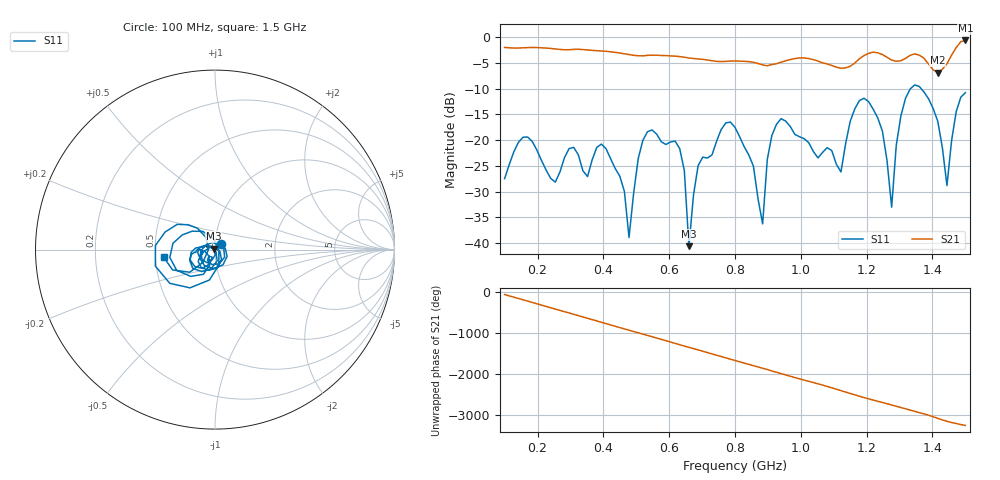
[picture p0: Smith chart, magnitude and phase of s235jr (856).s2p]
! NanoVNA-App
! Date: 2025-09-25 15:10:50
! Start: 100MHz Stop: 1,5GHz Points: 101
! S-Parameter data: F S11 S21 S12 S22
# Hz S RI R 50
!  Frequency  S11_Real  S11_Imag  S21_Real  S21_Imag  S12_Real  S12_Imag  S22_Real  S22_Imag
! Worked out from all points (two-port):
!   101 points, 100 MHz to 1.5 GHz, reference 50 ohm
!   highest |S21| = -0.61 dB at 1.5 GHz (marker M1); lowest = -6.9 dB at 1.416 GHz (marker M2)
!   |S21| within 3 dB of the highest: start of sweep to 602.4 MHz; 1.191 GHz to 1.255 GHz (64.39 MHz wide, 5.27 % of centre) (the widest 2 of 4)
!   lowest |S11| = -40.6 dB at 660 MHz (marker M3), VSWR 1.02, Z = 49.3 + j0.603 ohm
!   |S11| at or under -10 dB: start of sweep to 1.333 GHz; 1.366 GHz to end of sweep
!   S12 and S22 are empty: the file has one direction only
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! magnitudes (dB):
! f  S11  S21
! 100 MHz  -27.5  -2.0
! 156 MHz  -19.4  -2.0
! 338 MHz  -25.9  -2.4
! 408 MHz  -21.6  -2.7
! 478 MHz  -38.9  -3.4
! 520 MHz  -20.0  -3.6
! 576 MHz  -20.3  -3.5
! 632 MHz  -21.6  -3.7
! 660 MHz  -40.6  -4.0
! 688 MHz  -24.9  -4.2
! 800 MHz  -17.5  -4.6
! 884 MHz  -36.3  -5.4
! 926 MHz  -16.9  -5.1
! 1.038 GHz  -22.2  -4.3
! 1.122 GHz  -26.2  -6.0
! 1.192 GHz  -11.8  -3.5
! 1.248 GHz  -18.3  -3.3
! 1.276 GHz  -33.0  -4.4
! 1.332 GHz  -10.1  -3.5
! 1.416 GHz  -16.3  -6.9
! 1.444 GHz  -28.8  -5.1
! 1.5 GHz  -10.8  -0.6
